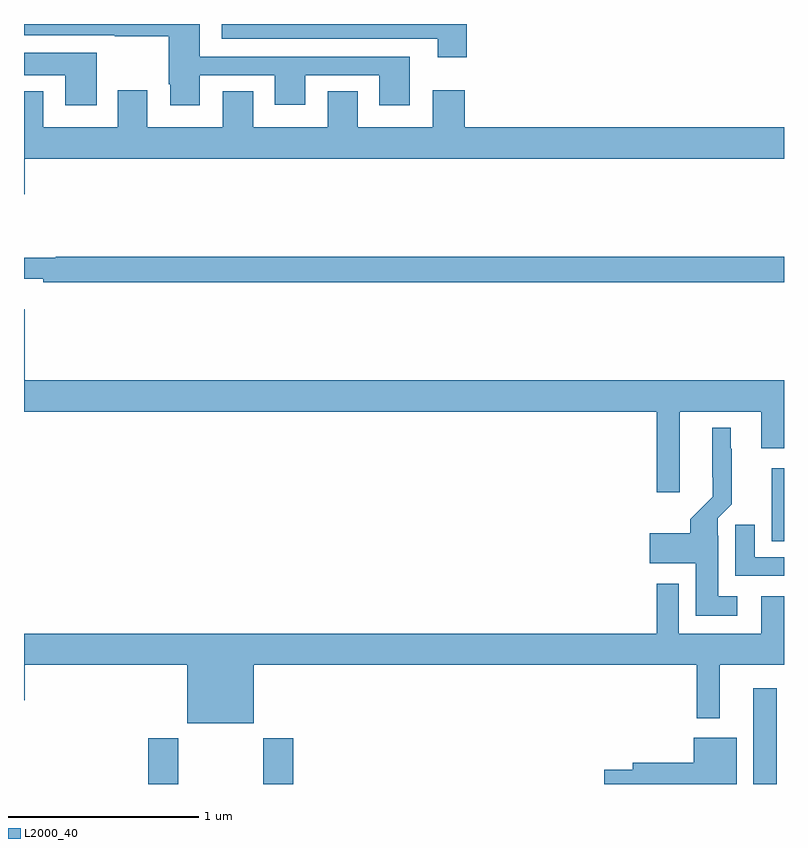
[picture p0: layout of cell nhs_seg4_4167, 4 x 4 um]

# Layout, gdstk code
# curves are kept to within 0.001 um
import gdstk
lib = gdstk.Library(unit=1e-6, precision=1e-09)
def R(c, l, rs):  # rectangles x0, y0, x1, y1
    for r in rs: c.add(gdstk.rectangle(r[:2], r[2:], *l))
def P(c, l, *ps):  # polygons
    for p in ps: c.add(gdstk.Polygon(p, *l))
L2000_40 = (2000, 40)

nhs_seg4_4167 = lib.new_cell('nhs_seg4_4167')
R(nhs_seg4_4167, L2000_40, [(333.653,754.9,333.813,755.14), (334.258,754.9,334.418,755.14), (336.839,754.9,336.961,755.404), (336.935,756.178,337,756.562)])
P(nhs_seg4_4167, L2000_40, [(335.33,758.9),(334.04,758.9),(334.04,758.822),(334.34,758.822),(334.34,758.823),(335.177,758.823),(335.177,758.724),(335.33,758.724)],
  [(333.925,758.631),(334.319,758.631),(334.319,758.475),(334.48,758.475),(334.48,758.631),(334.871,758.631),(334.871,758.472),(335.029,758.472),(335.029,758.727),(333.925,758.727),(333.925,758.9),(333,758.9),(333,758.841),(333.478,758.841),(333.478,758.836),(333.763,758.836),(333.763,758.584),(333.77,758.584),(333.77,758.472),(333.925,758.472)],
  [(333.382,758.749),(333,758.749),(333,758.63),(333.218,758.63),(333.218,758.472),(333.382,758.472)],
  [(333.004,758.192),(337,758.192),(337,758.356),(335.321,758.356),(335.321,758.551),(335.15,758.551),(335.15,758.356),(334.756,758.356),(334.756,758.546),(334.598,758.546),(334.598,758.356),(334.207,758.356),(334.207,758.546),(334.046,758.546),(334.046,758.356),(333.649,758.356),(333.649,758.551),(333.494,758.551),(333.494,758.356),(333.1,758.356),(333.1,758.545),(333,758.545),(333,758.004),(333.004,758.004)],
  [(337,757.676),(333.167,757.676),(333.167,757.669),(333,757.669),(333,757.559),(333.1,757.559),(333.1,757.54),(337,757.54)],
  [(336.451,756.86),(336.881,756.86),(336.881,756.666),(337,756.666),(337,757.024),(333.004,757.024),(333.004,757.399),(333,757.399),(333,756.86),(336.329,756.86),(336.329,756.435),(336.451,756.435)],
  [(336.754,755.887),(336.655,755.887),(336.655,756.206),(336.651,756.206),(336.651,756.3),(336.724,756.373),(336.724,756.665),(336.721,756.665),(336.721,756.775),(336.623,756.775),(336.624,756.412),(336.506,756.294),(336.506,756.22),(336.294,756.22),(336.294,756.062),(336.536,756.062),(336.536,755.786),(336.754,755.786)],
  [(337,756.093),(336.847,756.093),(336.847,756.265),(336.743,756.265),(336.743,755.997),(337,755.997)],
  [(334.21,755.528),(336.54,755.528),(336.54,755.247),(336.661,755.247),(336.661,755.528),(337,755.528),(337,755.887),(336.881,755.887),(336.881,755.692),(336.447,755.692),(336.447,755.953),(336.331,755.953),(336.331,755.692),(333,755.692),(333,755.34),(333.004,755.34),(333.004,755.528),(333.86,755.528),(333.86,755.219),(334.21,755.219)],
  [(336.751,755.143),(336.524,755.143),(336.524,755.011),(336.203,755.011),(336.203,754.976),(336.054,754.976),(336.054,754.9),(336.751,754.9)])

lib.write_gds('nhs_seg4_4167.gds')
